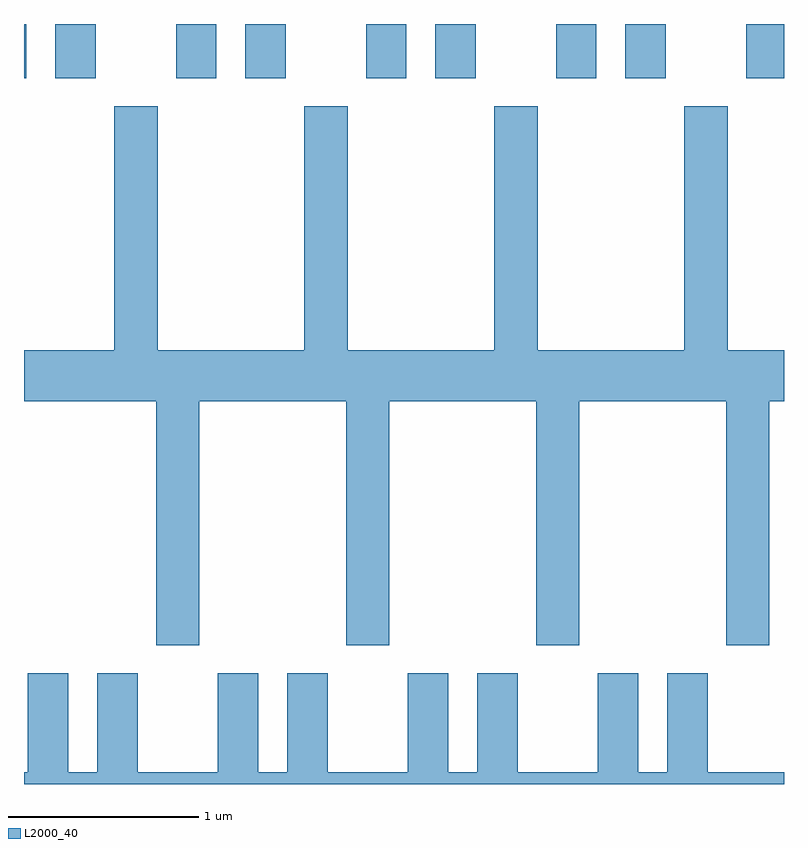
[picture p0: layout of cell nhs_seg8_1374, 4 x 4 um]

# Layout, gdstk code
import gdstk
lib = gdstk.Library(unit=1e-6, precision=1e-09)
def R(c, l, rs):  # rectangles x0, y0, x1, y1
    for r in rs: c.add(gdstk.rectangle(r[:2], r[2:], *l))
def P(c, l, *ps):  # polygons
    for p in ps: c.add(gdstk.Polygon(p, *l))
L2000_40 = (2000, 40)

nhs_seg8_1374 = lib.new_cell('nhs_seg8_1374')
R(nhs_seg8_1374, L2000_40, [(225.611,1898.056,225.624,1898.342), (225.776,1898.056,225.989,1898.342), (226.411,1898.056,226.624,1898.342), (226.776,1898.056,226.989,1898.342), (227.411,1898.056,227.624,1898.342), (227.776,1898.056,227.989,1898.342), (228.411,1898.056,228.624,1898.342), (228.776,1898.056,228.989,1898.342), (229.411,1898.056,229.611,1898.342)])
P(nhs_seg8_1374, L2000_40, [(226.534,1896.356),(227.306,1896.356),(227.306,1895.071),(227.534,1895.071),(227.534,1896.356),(228.306,1896.356),(228.306,1895.071),(228.534,1895.071),(228.534,1896.356),(229.306,1896.356),(229.306,1895.071),(229.534,1895.071),(229.534,1896.356),(229.611,1896.356),(229.611,1896.624),(229.314,1896.624),(229.314,1897.909),(229.086,1897.909),(229.086,1896.624),(228.314,1896.624),(228.314,1897.909),(228.086,1897.909),(228.086,1896.624),(227.314,1896.624),(227.314,1897.909),(227.086,1897.909),(227.086,1896.624),(226.314,1896.624),(226.314,1897.909),(226.086,1897.909),(226.086,1896.624),(225.611,1896.624),(225.611,1896.356),(226.306,1896.356),(226.306,1895.071),(226.534,1895.071)],
  [(229.611,1894.404),(229.209,1894.404),(229.209,1894.924),(228.996,1894.924),(228.996,1894.404),(228.844,1894.404),(228.844,1894.924),(228.631,1894.924),(228.631,1894.404),(228.209,1894.404),(228.209,1894.924),(227.996,1894.924),(227.996,1894.404),(227.844,1894.404),(227.844,1894.924),(227.631,1894.924),(227.631,1894.404),(227.209,1894.404),(227.209,1894.924),(226.996,1894.924),(226.996,1894.404),(226.844,1894.404),(226.844,1894.924),(226.631,1894.924),(226.631,1894.404),(226.209,1894.404),(226.209,1894.924),(225.996,1894.924),(225.996,1894.404),(225.844,1894.404),(225.844,1894.924),(225.631,1894.924),(225.631,1894.404),(225.611,1894.404),(225.611,1894.342),(229.611,1894.342)])

lib.write_gds('nhs_seg8_1374.gds')
